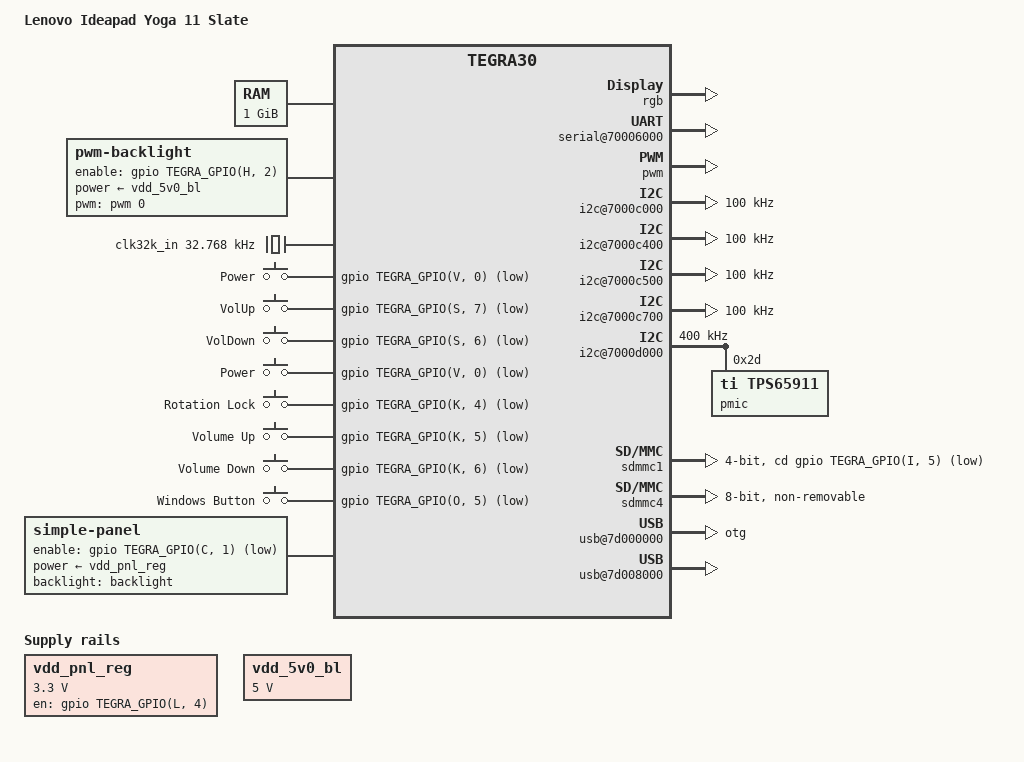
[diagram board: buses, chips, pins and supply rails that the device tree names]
/dts-v1/;

#include "tegra30.dtsi"

#include <dt-bindings/input/gpio-keys.h>
#include <dt-bindings/input/linux-event-codes.h>

/ {
	model = "Lenovo Ideapad Yoga 11 Slate";
	compatible = "lenovo,ideapad-yoga-11", "nvidia,tegra30";

	chosen {
		stdout-path = &uarta;
	};

	aliases {
		mmc0 = &sdmmc4;	/* eMMC */
		mmc1 = &sdmmc1; 	/* uSD slot */

		rtc0 = &pmic;
		rtc1 = "/rtc@7000e000";

		usb0 = "/usb@7d000000";
		usb1 = "/usb@7d008000";
	};

	memory {
		device_type = "memory";
		reg = <0x80000000 0x40000000>;
	};

	host1x@50000000 {
		dc@54200000 {
			rgb {
				status = "okay";

				nvidia,panel = <&panel>;

				display-timings {
					timing@0 {
						// 1366x768@60Hz
						clock-frequency = <71980000>;

						hactive = <1366>;
						vactive = <768>;

						hfront-porch = <56>;
						hsync-len = <14>;
						hback-porch = <106>;

						vfront-porch = <3>;
						vsync-len = <1>;
						vback-porch = <6>;
					};
				};
			};
		};
	};

	serial@70006000 {
		status = "okay";
	};

	pwm: pwm@7000a000 {
		status = "okay";
	};

	i2c@7000c000 {
		status = "okay";
		clock-frequency = <100000>;
	};

	i2c@7000c400 {
		status = "okay";
		clock-frequency = <100000>;
	};

	i2c@7000c500 {
		status = "okay";
		clock-frequency = <100000>;
	};

	i2c@7000c700 {
		status = "okay";
		clock-frequency = <100000>;
	};

	i2c@7000d000 {
		status = "okay";
		clock-frequency = <400000>;

		/* Texas Instruments TPS659110 PMIC */
		pmic: tps65911@2d {
			compatible = "ti,tps65911";
			reg = <0x2d>;

			interrupts = <GIC_SPI 86 IRQ_TYPE_LEVEL_HIGH>;
			#interrupt-cells = <2>;
			interrupt-controller;

			ti,system-power-controller;

			#gpio-cells = <2>;
			gpio-controller;

			regulators {

			};
		};
	};
	

	sdmmc1: sdhci@78000000 {
		status = "okay";
		bus-width = <4>;

		cd-gpios = <&gpio TEGRA_GPIO(I, 5) GPIO_ACTIVE_LOW>;
		power-gpios = <&gpio TEGRA_GPIO(D, 7) GPIO_ACTIVE_HIGH>;

	};

	sdmmc4: sdhci@78000600 {
		status = "okay";
		bus-width = <8>;
		non-removable;
	};

	/* LEFT */
	usb@7d000000 {
		status = "okay";
		dr_mode = "otg";
	};
	
	/* RIGHT */
	usb@7d008000 {
		status = "okay";
		nvidia,vbus-gpio = <&gpio TEGRA_GPIO(V, 2) GPIO_ACTIVE_HIGH>;
	};

	backlight: backlight {
		compatible = "pwm-backlight";

		enable-gpios = <&gpio TEGRA_GPIO(H, 2) GPIO_ACTIVE_HIGH>;
		power-supply = <&vdd_5v0_bl>;
		pwms = <&pwm 0 4000000>;

		brightness-levels = <228 255>;
		default-brightness-level = <228>;
	};

	clocks {
		compatible = "simple-bus";
		#address-cells = <1>;
		#size-cells = <0>;

		clk32k_in: clock@0 {
			compatible = "fixed-clock";
			reg=<0>;
			#clock-cells = <0>;
			clock-frequency = <32768>;
		};
	};

	gpio-keys {
		compatible = "gpio-keys";
		interrupt-parent = <&gpio>;

		power {
			label = "Power";
			gpios = <&gpio TEGRA_GPIO(V, 0) GPIO_ACTIVE_LOW>;
		};

		volume-up {
			label = "VolUp";
			gpios = <&gpio TEGRA_GPIO(S, 7) GPIO_ACTIVE_LOW>;
		};

		volume-down {
			label = "VolDown";
			gpios = <&gpio TEGRA_GPIO(S, 6) GPIO_ACTIVE_LOW>;
		};
	};
	
	gpio-keyboard {
		compatible = "gpio-keys-input";

		power {
			label = "Power";
			gpios = <&gpio TEGRA_GPIO(V, 0) GPIO_ACTIVE_LOW>;
			linux,code = <KEY_D>;
		};

		rotation-lock {
			label = "Rotation Lock";
			gpios = <&gpio TEGRA_GPIO(K, 4) GPIO_ACTIVE_LOW>;
			linux,code = <KEY_E>;
		};

		volume-up {
			label = "Volume Up";
			gpios = <&gpio TEGRA_GPIO(K, 5) GPIO_ACTIVE_LOW>;
			linux,code = <KEY_A>;
		};

		volume-down {
			label = "Volume Down";
			gpios = <&gpio TEGRA_GPIO(K, 6) GPIO_ACTIVE_LOW>;
			linux,code = <KEY_B>;
		};

		windows-button {
			label = "Windows Button";
			gpios = <&gpio TEGRA_GPIO(O, 5) GPIO_ACTIVE_LOW>;
			linux,code = <KEY_C>;
               };
	};

	panel: panel {
		compatible = "simple-panel";

		power-supply = <&vdd_pnl_reg>;
		enable-gpios = <&gpio TEGRA_GPIO(C, 1) GPIO_ACTIVE_LOW>;

		backlight = <&backlight>;
	};

	regulators {
		compatible = "simple-bus";
		#address-cells = <1>;
		#size-cells = <0>;

		vdd_pnl_reg: regulator@0 {
			compatible = "regulator-fixed";
			reg = <0>;
			regulator-name = "vdd_panel";
			regulator-min-microvolt = <3300000>;
			regulator-max-microvolt = <3300000>;
			gpio = <&gpio TEGRA_GPIO(L, 4) GPIO_ACTIVE_HIGH>;
			enable-active-high;
		};

		vdd_5v0_bl: regulator@1 {
			compatible = "regulator-fixed";
			reg = <1>;
			regulator-name = "vdd_5v0_bl";
			regulator-min-microvolt = <5000000>;
			regulator-max-microvolt = <5000000>;
			enable-active-high;
		};
	};
};
